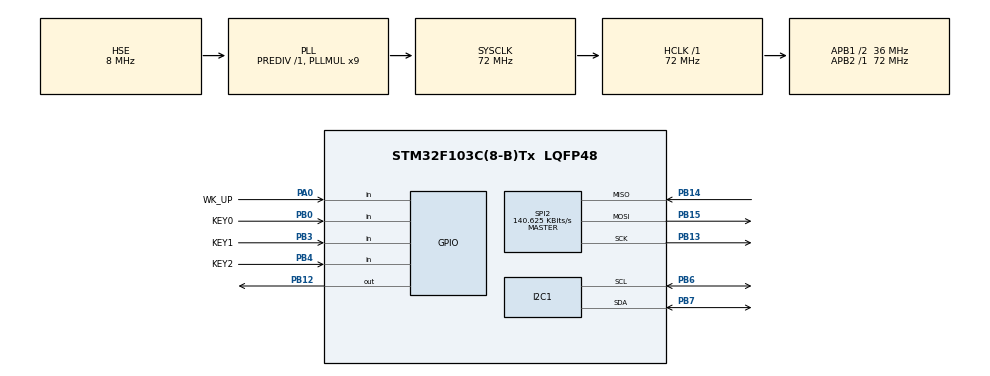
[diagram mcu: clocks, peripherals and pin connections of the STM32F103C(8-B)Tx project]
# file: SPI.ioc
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Mcu.Family=STM32F1
Mcu.Name=STM32F103C(8-B)Tx
Mcu.Package=LQFP48
NVIC.PriorityGroup=NVIC_PRIORITYGROUP_4
PA0-WKUP.GPIO_Label=WK_UP
PA0-WKUP.GPIO_PuPd=GPIO_PULLDOWN
PA0-WKUP.Signal=GPIO_Input
PA13.Mode=Serial_Wire
PA13.Signal=SYS_JTMS-SWDIO
PA14.Mode=Serial_Wire
PA14.Signal=SYS_JTCK-SWCLK
PB0.GPIO_Label=KEY0
PB0.GPIO_PuPd=GPIO_PULLUP
PB0.Signal=GPIO_Input
PB12.GPIO_PuPd=GPIO_PULLUP
PB12.PinState=GPIO_PIN_SET
PB12.Signal=GPIO_Output
PB13.Mode=Full_Duplex_Master
PB13.Signal=SPI2_SCK
PB14.Mode=Full_Duplex_Master
PB14.Signal=SPI2_MISO
PB15.Mode=Full_Duplex_Master
PB15.Signal=SPI2_MOSI
PB3.GPIO_Label=KEY1
PB3.GPIO_PuPd=GPIO_PULLUP
PB3.Signal=GPIO_Input
PB4.GPIO_Label=KEY2
PB4.GPIO_PuPd=GPIO_PULLUP
PB4.Signal=GPIO_Input
PB6.Mode=I2C
PB6.Signal=I2C1_SCL
PB7.Mode=I2C
PB7.Signal=I2C1_SDA
PD0-OSC_IN.Mode=HSE-External-Oscillator
PD0-OSC_IN.Signal=RCC_OSC_IN
PD1-OSC_OUT.Mode=HSE-External-Oscillator
PD1-OSC_OUT.Signal=RCC_OSC_OUT
ProjectManager.HeapSize=0x200
ProjectManager.StackSize=0x400
ProjectManager.TargetToolchain=CMake
RCC.AHBFreq_Value=72000000
RCC.APB1CLKDivider=RCC_HCLK_DIV2
RCC.APB1Freq_Value=36000000
RCC.APB1TimFreq_Value=72000000
RCC.APB2Freq_Value=72000000
RCC.APB2TimFreq_Value=72000000
RCC.HCLKFreq_Value=72000000
RCC.PLLMUL=RCC_PLL_MUL9
RCC.PLLSourceVirtual=RCC_PLLSOURCE_HSE
RCC.SYSCLKFreq_VALUE=72000000
RCC.SYSCLKSource=RCC_SYSCLKSOURCE_PLLCLK
RCC.USBFreq_Value=72000000
SPI2.BaudRatePrescaler=SPI_BAUDRATEPRESCALER_256
SPI2.CLKPhase=SPI_PHASE_2EDGE
SPI2.CLKPolarity=SPI_POLARITY_HIGH
SPI2.CalculateBaudRate=140.625 KBits/s
SPI2.Direction=SPI_DIRECTION_2LINES
SPI2.Mode=SPI_MODE_MASTER
SPI2.VirtualType=VM_MASTER
board=custom

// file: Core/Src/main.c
/* USER CODE BEGIN Header */
/**
  ******************************************************************************
  * @file           : main.c
  * @brief          : Main program body
  ******************************************************************************
  * @attention
  *
  * Copyright (c) 2026 STMicroelectronics.
  * All rights reserved.
  *
  * This software is licensed under terms that can be found in the LICENSE file
  * in the root directory of this software component.
  * If no LICENSE file comes with this software, it is provided AS-IS.
  *
  ******************************************************************************
  */
/* USER CODE END Header */
#include "main.h"
#include "i2c.h"
#include "spi.h"
#include "gpio.h"

/* USER CODE BEGIN Includes */
#include "norflash.h"
#include "key.h"
#include "oled.h"
#include "stdio.h"
/* USER CODE END Includes */

/* USER CODE BEGIN PV */

const uint8_t g_text_buf[] = {"STM32 SPI TEXT"};
#define TEXT_SIZE sizeof(g_text_buf)

/* USER CODE END PV */

void SystemClock_Config(void);

int main(void)
{

  /* USER CODE BEGIN 1 */
  uint8_t key;
  uint16_t i = 0;
  uint8_t datatemp[TEXT_SIZE];

  char id_str[16];
  uint16_t id;

  /* USER CODE END 1 */

  /* MCU Configuration--------------------------------------------------------*/

  /* Reset of all peripherals, Initializes the Flash interface and the Systick. */
  HAL_Init();

  /* Configure the system clock */
  SystemClock_Config();

  /* Initialize all configured peripherals */
  MX_GPIO_Init();
  MX_SPI2_Init();
  MX_I2C1_Init();
  /* USER CODE BEGIN 2 */
  OLED_Init();
  norflash_init();

  id = g_norflash_type;
  sprintf(id_str, "0x%04X", id);

  OLED_NewFrame();
  OLED_PrintASCIIString(0, 0, "NORFLASH ID:", &afont12x6, OLED_COLOR_NORMAL);
  OLED_PrintASCIIString(0, 12, id_str, &afont12x6, OLED_COLOR_NORMAL);
  if (id != W25Q64)
  {
    OLED_PrintASCIIString(0, 24, id == 0 ? "SPI transfer error" : "Check wiring / CS",
                          &afont12x6, OLED_COLOR_NORMAL);
    OLED_ShowFrame();
    while (1)
    {
      HAL_Delay(100);
    }
  }
  OLED_ShowFrame();
  /* USER CODE END 2 */

  /* Infinite loop */
  /* USER CODE BEGIN WHILE */
  while (1)
  {
    key = key_scan(0);

    if(key == KEY0_PRES)
    {
      snprintf((char *)datatemp, sizeof(datatemp), "%s%u", g_text_buf, (unsigned int)i++);
      norflash_write(datatemp,0x000000,  TEXT_SIZE);
      OLED_PrintASCIIString(0, 24, "Write Success:", &afont12x6, OLED_COLOR_NORMAL);
      OLED_ShowFrame();

    }
    else if(key == KEY1_PRES)
    {
      norflash_read(datatemp,0x000000,  TEXT_SIZE);
      OLED_PrintASCIIString(0, 36, "Read Data:", &afont12x6, OLED_COLOR_NORMAL);
      datatemp[TEXT_SIZE - 1] = '\0';
      OLED_PrintASCIIString(0, 48, (char *)datatemp,&afont12x6, OLED_COLOR_NORMAL);
      OLED_ShowFrame();
    }

    /* USER CODE END WHILE */

  }
}

void SystemClock_Config(void)
{
  RCC_OscInitTypeDef RCC_OscInitStruct = {0};
  RCC_ClkInitTypeDef RCC_ClkInitStruct = {0};

  /** Initializes the RCC Oscillators according to the specified parameters
  * in the RCC_OscInitTypeDef structure.
  */
  RCC_OscInitStruct.OscillatorType = RCC_OSCILLATORTYPE_HSE;
  RCC_OscInitStruct.HSEState = RCC_HSE_ON;
  RCC_OscInitStruct.HSEPredivValue = RCC_HSE_PREDIV_DIV1;
  RCC_OscInitStruct.HSIState = RCC_HSI_ON;
  RCC_OscInitStruct.PLL.PLLState = RCC_PLL_ON;
  RCC_OscInitStruct.PLL.PLLSource = RCC_PLLSOURCE_HSE;
  RCC_OscInitStruct.PLL.PLLMUL = RCC_PLL_MUL9;
  if (HAL_RCC_OscConfig(&RCC_OscInitStruct) != HAL_OK)
  {
    Error_Handler();
  }

  /** Initializes the CPU, AHB and APB buses clocks
  */
  RCC_ClkInitStruct.ClockType = RCC_CLOCKTYPE_HCLK|RCC_CLOCKTYPE_SYSCLK
                              |RCC_CLOCKTYPE_PCLK1|RCC_CLOCKTYPE_PCLK2;
  RCC_ClkInitStruct.SYSCLKSource = RCC_SYSCLKSOURCE_PLLCLK;
  RCC_ClkInitStruct.AHBCLKDivider = RCC_SYSCLK_DIV1;
  RCC_ClkInitStruct.APB1CLKDivider = RCC_HCLK_DIV2;
  RCC_ClkInitStruct.APB2CLKDivider = RCC_HCLK_DIV1;

  if (HAL_RCC_ClockConfig(&RCC_ClkInitStruct, FLASH_LATENCY_2) != HAL_OK)
  {
    Error_Handler();
  }
}

void Error_Handler(void)
{
  __disable_irq();
  while (1)
  {
  }
}
